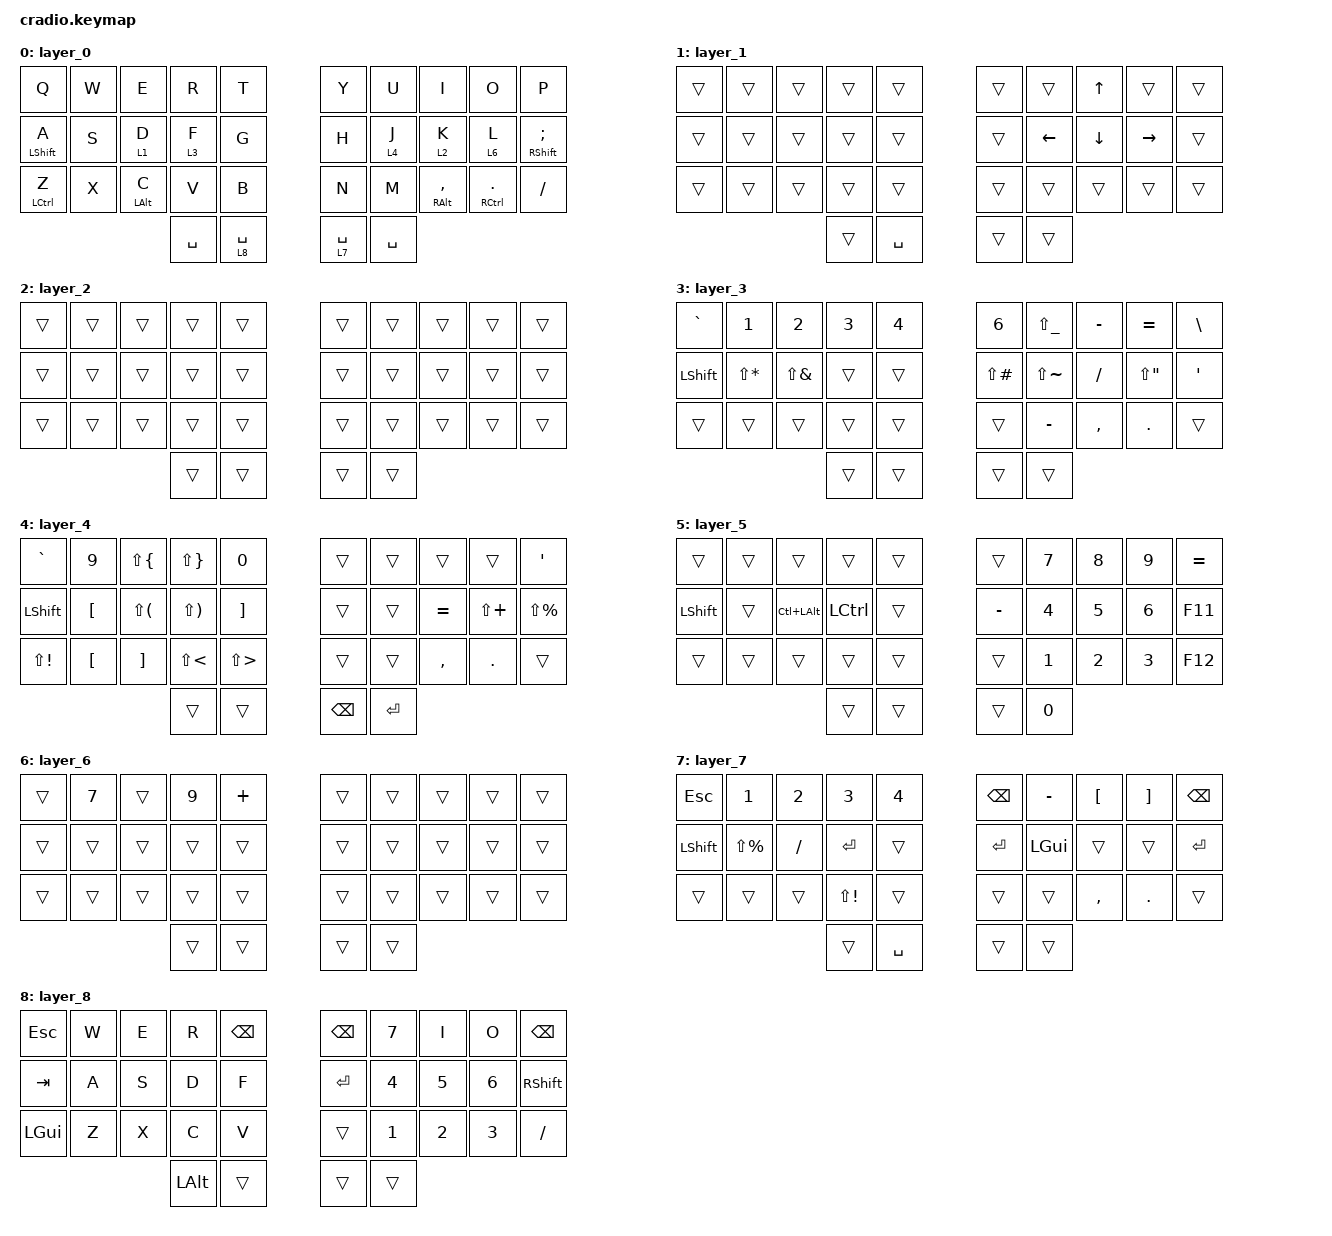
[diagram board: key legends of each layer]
#include <behaviors.dtsi>
#include <dt-bindings/zmk/keys.h>
#include <dt-bindings/zmk/bt.h>

/ {
    keymap {
        compatible = "zmk,keymap";

        layer_0 {
            bindings = <
&kp Q             &kp W  &kp E           &kp R      &kp T          &kp Y        &kp U      &kp I                &kp O                     &kp P
&mt LEFT_SHIFT A  &kp S  &lt 1 D         &lt 3 F    &kp G          &kp H        &lt 4 J    &lt 2 K              &lt 6 L                   &mt RIGHT_SHIFT SEMICOLON
&mt LCTRL Z       &kp X  &mt LEFT_ALT C  &kp V      &kp B          &kp N        &kp M      &mt RIGHT_ALT COMMA  &mt RIGHT_CONTROL PERIOD  &kp FSLH
                                         &kp SPACE  &lt 8 SPACE    &lt 7 SPACE  &kp SPACE
            >;
        };

        layer_1 {
            bindings = <
&trans  &trans  &trans  &trans  &trans       &trans  &trans    &kp UP    &trans     &trans
&trans  &trans  &trans  &trans  &trans       &trans  &kp LEFT  &kp DOWN  &kp RIGHT  &trans
&trans  &trans  &trans  &trans  &trans       &trans  &trans    &trans    &trans     &trans
                        &trans  &kp SPACE    &trans  &trans
            >;
        };

        layer_2 {
            bindings = <
&trans  &trans  &trans  &trans  &trans    &trans  &trans  &trans  &trans  &trans
&trans  &trans  &trans  &trans  &trans    &trans  &trans  &trans  &trans  &trans
&trans  &trans  &trans  &trans  &trans    &trans  &trans  &trans  &trans  &trans
                        &trans  &trans    &trans  &trans
            >;
        };

        layer_3 {
            bindings = <
&kp GRAVE  &kp N1        &kp N2        &kp N3  &kp N4    &kp N6         &kp LS(UNDER)  &kp MINUS  &kp EQUAL    &kp BSLH
&kp LSHFT  &kp LS(STAR)  &kp LS(AMPS)  &trans  &trans    &kp LS(POUND)  &kp LS(TILDE)  &kp FSLH   &kp LS(DQT)  &kp SQT
&trans     &trans        &trans        &trans  &trans    &trans         &kp MINUS      &kp COMMA  &kp DOT      &trans
                                       &trans  &trans    &trans         &trans
            >;
        };

        layer_4 {
            bindings = <
&kp GRAVE     &kp N9    &kp LS(LBRC)  &kp LS(RBRC)  &kp N0        &trans    &trans   &trans     &trans        &kp SQT
&kp LSHFT     &kp LBKT  &kp LS(LPAR)  &kp LS(RPAR)  &kp RBKT      &trans    &trans   &kp EQUAL  &kp LS(PLUS)  &kp LS(PRCNT)
&kp LS(EXCL)  &kp LBKT  &kp RBKT      &kp LS(LT)    &kp LS(GT)    &trans    &trans   &kp COMMA  &kp DOT       &trans
                                      &trans        &trans        &kp BSPC  &kp RET
            >;
        };

        layer_5 {
            bindings = <
&trans     &trans  &trans        &trans     &trans    &trans     &kp N7  &kp N8  &kp N9  &kp EQUAL
&kp LSHFT  &trans  &kp LC(LALT)  &kp LCTRL  &trans    &kp MINUS  &kp N4  &kp N5  &kp N6  &kp F11
&trans     &trans  &trans        &trans     &trans    &trans     &kp N1  &kp N2  &kp N3  &kp F12
                                 &trans     &trans    &trans     &kp N0
            >;
        };

        layer_6 {
            bindings = <
&trans  &kp N7  &trans  &kp N9  &kp PLUS    &trans  &trans  &trans  &trans  &trans
&trans  &trans  &trans  &trans  &trans      &trans  &trans  &trans  &trans  &trans
&trans  &trans  &trans  &trans  &trans      &trans  &trans  &trans  &trans  &trans
                        &trans  &trans      &trans  &trans
            >;
        };

        layer_7 {
            bindings = <
&kp ESC    &kp N1         &kp N2    &kp N3        &kp N4       &kp BSPC  &kp MINUS  &kp LBKT   &kp RBKT  &kp BSPC
&kp LSHFT  &kp LS(PRCNT)  &kp FSLH  &kp RET       &trans       &kp RET   &kp LGUI   &trans     &trans    &kp RET
&trans     &trans         &trans    &kp LS(EXCL)  &trans       &trans    &trans     &kp COMMA  &kp DOT   &trans
                                    &trans        &kp SPACE    &trans    &trans
            >;
        };

        layer_8 {
            bindings = <
&kp ESC   &kp W  &kp E  &kp R     &kp BSPC    &kp BSPC  &kp N7  &kp I   &kp O   &kp BSPC
&kp TAB   &kp A  &kp S  &kp D     &kp F       &kp RET   &kp N4  &kp N5  &kp N6  &kp RSHFT
&kp LGUI  &kp Z  &kp X  &kp C     &kp V       &trans    &kp N1  &kp N2  &kp N3  &kp FSLH
                        &kp LALT  &trans      &trans    &trans
            >;
        };
    };
};

